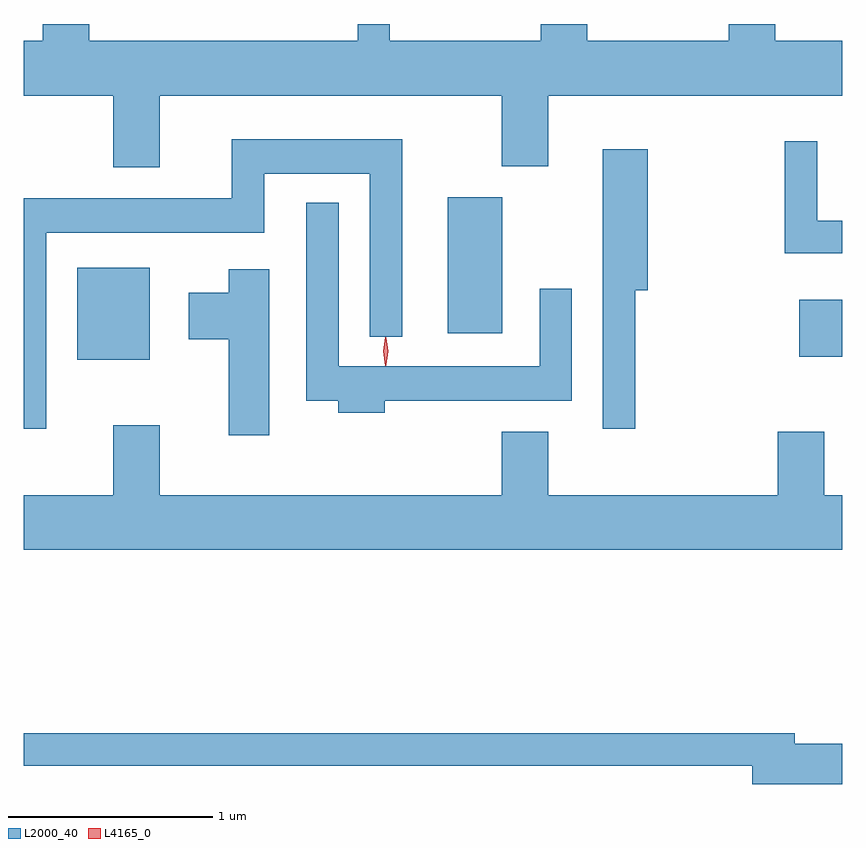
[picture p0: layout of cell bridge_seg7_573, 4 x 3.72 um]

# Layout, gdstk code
import gdstk
lib = gdstk.Library(unit=1e-6, precision=1e-09)
def R(c, l, rs):  # rectangles x0, y0, x1, y1
    for r in rs: c.add(gdstk.rectangle(r[:2], r[2:], *l))
def P(c, l, *ps):  # polygons
    for p in ps: c.add(gdstk.Polygon(p, *l))
L2000_40 = (2000, 40)
L4165_0 = (4165, 0)

bridge_seg7_573 = lib.new_cell('bridge_seg7_573')
R(bridge_seg7_573, L2000_40, [(657.446,1792.946,657.799,1793.394), (660.976,1792.961,661.185,1793.239), (659.256,1793.076,659.524,1793.739)])
P(bridge_seg7_573, L2000_40, [(657.849,1794.236),(659.521,1794.236),(659.521,1793.891),(659.749,1793.891),(659.749,1794.236),(661.185,1794.236),(661.185,1794.504),(660.859,1794.504),(660.859,1794.587),(660.631,1794.587),(660.631,1794.504),(659.939,1794.504),(659.939,1794.587),(659.711,1794.587),(659.711,1794.504),(658.974,1794.504),(658.974,1794.587),(658.816,1794.587),(658.816,1794.504),(657.504,1794.504),(657.504,1794.587),(657.276,1794.587),(657.276,1794.504),(657.185,1794.504),(657.185,1794.236),(657.621,1794.236),(657.621,1793.886),(657.849,1793.886)],
  [(657.294,1793.566),(658.359,1793.566),(658.359,1793.856),(658.876,1793.856),(658.876,1793.058),(659.034,1793.058),(659.034,1794.024),(658.201,1794.024),(658.201,1793.734),(657.185,1793.734),(657.185,1792.608),(657.294,1792.608)],
  [(661.185,1793.624),(661.064,1793.624),(661.064,1794.013),(660.906,1794.013),(660.906,1793.466),(661.185,1793.466)],
  [(660.174,1793.286),(660.234,1793.286),(660.234,1793.974),(660.016,1793.974),(660.016,1792.608),(660.174,1792.608)],
  [(658.949,1792.746),(659.864,1792.746),(659.864,1793.293),(659.706,1793.293),(659.706,1792.914),(658.724,1792.914),(658.724,1793.713),(658.566,1793.713),(658.566,1792.746),(658.721,1792.746),(658.721,1792.686),(658.949,1792.686)],
  [(658.384,1793.389),(658.186,1793.389),(658.186,1793.274),(657.991,1793.274),(657.991,1793.046),(658.186,1793.046),(658.186,1792.576),(658.384,1792.576)],
  [(661.185,1792.284),(661.099,1792.284),(661.099,1792.594),(660.871,1792.594),(660.871,1792.284),(659.749,1792.284),(659.749,1792.594),(659.521,1792.594),(659.521,1792.284),(657.849,1792.284),(657.849,1792.624),(657.621,1792.624),(657.621,1792.284),(657.185,1792.284),(657.185,1792.016),(661.185,1792.016)],
  [(661.185,1791.069),(660.954,1791.069),(660.954,1791.119),(657.185,1791.119),(657.185,1790.961),(660.746,1790.961),(660.746,1790.871),(661.185,1790.871)])
P(bridge_seg7_573, L4165_0, [(658.956,1792.919),(658.956,1792.92),(658.946,1792.986),(658.956,1793.052),(658.956,1793.053),(658.956,1793.052),(658.966,1792.986),(658.956,1792.92)],
  [(658.952,1792.917),(658.952,1792.917),(658.942,1792.987),(658.952,1793.056),(658.952,1793.056),(658.953,1793.056),(658.962,1792.987),(658.953,1792.917)])

lib.write_gds('bridge_seg7_573.gds')
